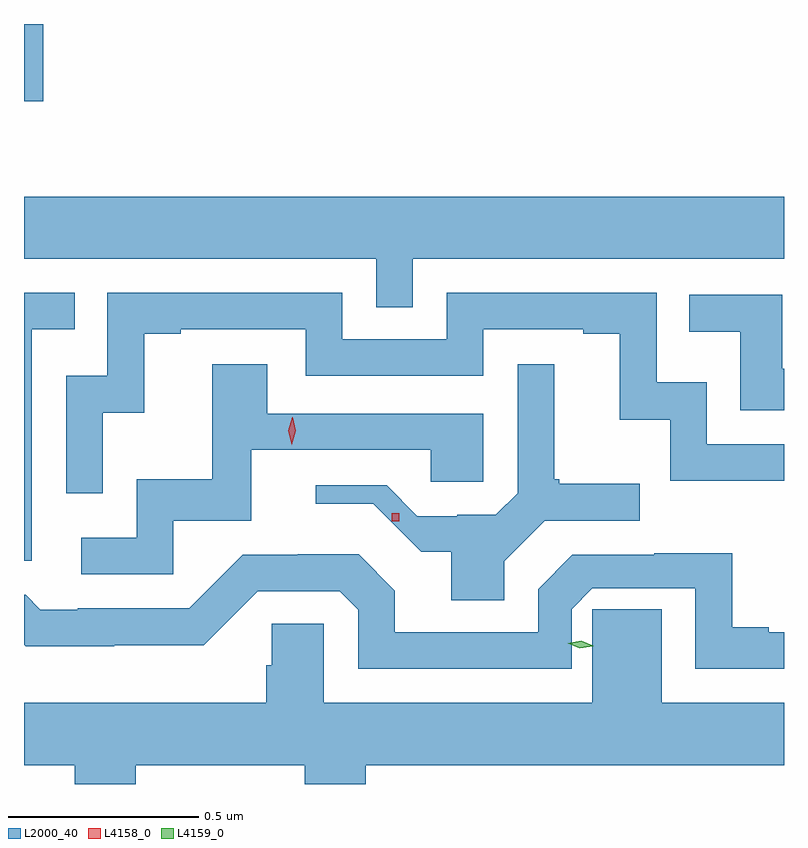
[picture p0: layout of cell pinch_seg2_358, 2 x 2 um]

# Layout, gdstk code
import gdstk
lib = gdstk.Library(unit=1e-6, precision=1e-09)
def R(c, l, rs):  # rectangles x0, y0, x1, y1
    for r in rs: c.add(gdstk.rectangle(r[:2], r[2:], *l))
def P(c, l, *ps):  # polygons
    for p in ps: c.add(gdstk.Polygon(p, *l))
L2000_40 = (2000, 40)
L4158_0 = (4158, 0)
L4159_0 = (4159, 0)

pinch_seg2_358 = lib.new_cell('pinch_seg2_358')
R(pinch_seg2_358, L2000_40, [(1000.407,630.735,1000.457,630.938)])
P(pinch_seg2_358, L2000_40, [(1001.43,630.32),(1002.407,630.32),(1002.407,630.484),(1000.407,630.484),(1000.407,630.32),(1001.334,630.32),(1001.334,630.193),(1001.43,630.193)],
  [(1000.428,630.135),(1000.541,630.135),(1000.541,630.231),(1000.407,630.231),(1000.407,629.526),(1000.428,629.526)],
  [(1000.614,629.915),(1000.724,629.915),(1000.724,630.123),(1000.819,630.123),(1000.819,630.135),(1001.148,630.135),(1001.148,630.012),(1001.616,630.012),(1001.616,630.135),(1001.879,630.135),(1001.879,630.123),(1001.975,630.123),(1001.975,629.897),(1002.108,629.897),(1002.108,629.736),(1002.407,629.736),(1002.407,629.832),(1002.204,629.832),(1002.204,629.995),(1002.072,629.995),(1002.072,630.231),(1001.52,630.231),(1001.52,630.108),(1001.244,630.108),(1001.244,630.231),(1000.626,630.231),(1000.626,630.012),(1000.518,630.012),(1000.518,629.703),(1000.614,629.703)],
  [(1002.407,630.031),(1002.403,630.031),(1002.403,630.225),(1002.157,630.225),(1002.157,630.128),(1002.292,630.128),(1002.292,629.922),(1002.407,629.922)],
  [(1000.8,629.631),(1001.005,629.631),(1001.005,629.817),(1001.478,629.817),(1001.478,629.734),(1001.616,629.734),(1001.616,629.913),(1001.047,629.913),(1001.047,630.043),(1000.903,630.043),(1000.903,629.74),(1000.704,629.74),(1000.704,629.586),(1000.557,629.586),(1000.557,629.49),(1000.8,629.49)],
  [(1001.671,629.524),(1001.778,629.631),(1002.028,629.631),(1002.028,629.728),(1001.815,629.728),(1001.815,629.74),(1001.803,629.74),(1001.803,630.043),(1001.706,630.043),(1001.706,629.703),(1001.649,629.646),(1001.547,629.646),(1001.547,629.643),(1001.442,629.643),(1001.361,629.724),(1001.175,629.724),(1001.175,629.675),(1001.326,629.675),(1001.452,629.549),(1001.531,629.549),(1001.531,629.422),(1001.671,629.422)],
  [(1001.849,629.398),(1001.903,629.453),(1002.174,629.453),(1002.174,629.241),(1002.407,629.241),(1002.407,629.337),(1002.367,629.337),(1002.367,629.35),(1002.271,629.35),(1002.271,629.545),(1002.066,629.545),(1002.066,629.541),(1001.85,629.541),(1001.76,629.451),(1001.76,629.337),(1001.383,629.337),(1001.383,629.447),(1001.288,629.542),(1001.127,629.542),(1001.127,629.541),(1000.983,629.541),(1000.842,629.4),(1000.549,629.4),(1000.549,629.397),(1000.45,629.397),(1000.411,629.436),(1000.407,629.436),(1000.407,629.305),(1000.411,629.301),(1000.644,629.301),(1000.644,629.303),(1000.88,629.303),(1001.022,629.445),(1001.238,629.445),(1001.286,629.397),(1001.286,629.241),(1001.849,629.241)],
  [(1000.701,628.988),(1001.146,628.988),(1001.146,628.938),(1001.306,628.938),(1001.306,628.988),(1002.407,628.988),(1002.407,629.152),(1002.085,629.152),(1002.085,629.398),(1001.903,629.398),(1001.903,629.152),(1001.196,629.152),(1001.196,629.36),(1001.059,629.36),(1001.059,629.25),(1001.045,629.25),(1001.045,629.152),(1000.407,629.152),(1000.407,628.988),(1000.541,628.988),(1000.541,628.938),(1000.701,628.938)])
R(pinch_seg2_358, L4158_0, [(1001.375,629.63,1001.395,629.65)])
P(pinch_seg2_358, L4158_0, [(1001.111,629.831),(1001.111,629.831),(1001.102,629.868),(1001.113,629.903),(1001.114,629.903),(1001.114,629.903),(1001.122,629.867),(1001.111,629.831)])
P(pinch_seg2_358, L4159_0, [(1001.87,629.295),(1001.838,629.308),(1001.838,629.308),(1001.838,629.308),(1001.873,629.315),(1001.905,629.302),(1001.905,629.301),(1001.905,629.301)])

lib.write_gds('pinch_seg2_358.gds')
